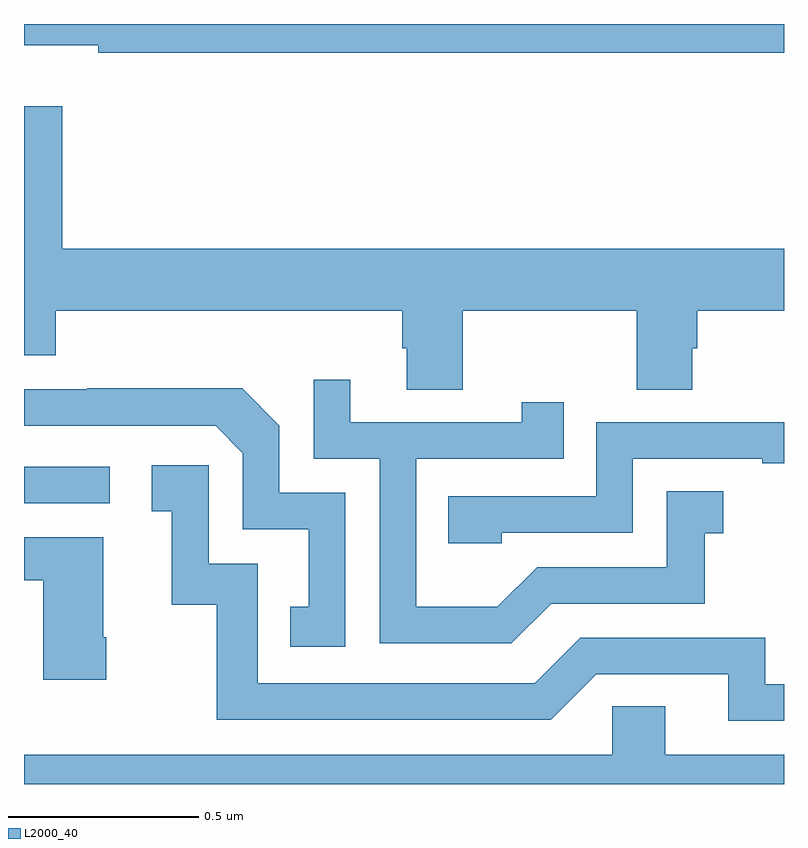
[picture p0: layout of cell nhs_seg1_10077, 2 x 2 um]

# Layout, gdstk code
import gdstk
lib = gdstk.Library(unit=1e-6, precision=1e-09)
def R(c, l, rs):  # rectangles x0, y0, x1, y1
    for r in rs: c.add(gdstk.rectangle(r[:2], r[2:], *l))
def P(c, l, *ps):  # polygons
    for p in ps: c.add(gdstk.Polygon(p, *l))
L2000_40 = (2000, 40)

nhs_seg1_10077 = lib.new_cell('nhs_seg1_10077')
R(nhs_seg1_10077, L2000_40, [(237,505.938,237.226,506.034)])
P(nhs_seg1_10077, L2000_40, [(239,507.199),(237,507.199),(237,507.143),(237.196,507.143),(237.196,507.124),(239,507.124)],
  [(238.155,506.444),(238.612,506.444),(238.612,506.236),(238.759,506.236),(238.759,506.346),(238.772,506.346),(238.772,506.444),(239,506.444),(239,506.608),(237.1,506.608),(237.1,506.983),(237,506.983),(237,506.327),(237.083,506.327),(237.083,506.444),(237.995,506.444),(237.995,506.346),(238.007,506.346),(238.007,506.236),(238.155,506.236)],
  [(238.387,505.674),(238.791,505.674),(238.791,505.859),(238.84,505.859),(238.84,505.969),(238.692,505.969),(238.692,505.77),(238.35,505.77),(238.246,505.666),(238.032,505.666),(238.032,506.055),(238.421,506.055),(238.421,506.203),(238.31,506.203),(238.31,506.151),(237.859,506.151),(237.859,506.263),(237.762,506.263),(237.762,506.055),(237.936,506.055),(237.936,505.569),(238.282,505.569)],
  [(237.846,505.965),(237.672,505.965),(237.672,506.142),(237.574,506.24),(237.166,506.24),(237.166,506.238),(237,506.238),(237,506.142),(237.504,506.142),(237.576,506.07),(237.576,505.869),(237.749,505.869),(237.749,505.665),(237.7,505.665),(237.7,505.56),(237.846,505.56)],
  [(238.257,505.86),(238.602,505.86),(238.602,506.055),(238.943,506.055),(238.943,506.043),(239,506.043),(239,506.151),(238.506,506.151),(238.506,505.956),(238.117,505.956),(238.117,505.833),(238.257,505.833)],
  [(239,505.461),(238.95,505.461),(238.95,505.584),(238.464,505.584),(238.344,505.464),(237.615,505.464),(237.615,505.779),(237.486,505.779),(237.486,506.038),(237.336,506.038),(237.336,505.917),(237.389,505.917),(237.389,505.671),(237.507,505.671),(237.507,505.368),(238.386,505.368),(238.506,505.488),(238.853,505.488),(238.853,505.365),(239,505.365)],
  [(237.216,505.585),(237.208,505.585),(237.208,505.849),(237,505.849),(237,505.735),(237.05,505.735),(237.05,505.473),(237.216,505.473)],
  [(239,505.276),(238.687,505.276),(238.687,505.403),(238.548,505.403),(238.548,505.276),(237,505.276),(237,505.199),(239,505.199)])

lib.write_gds('nhs_seg1_10077.gds')
